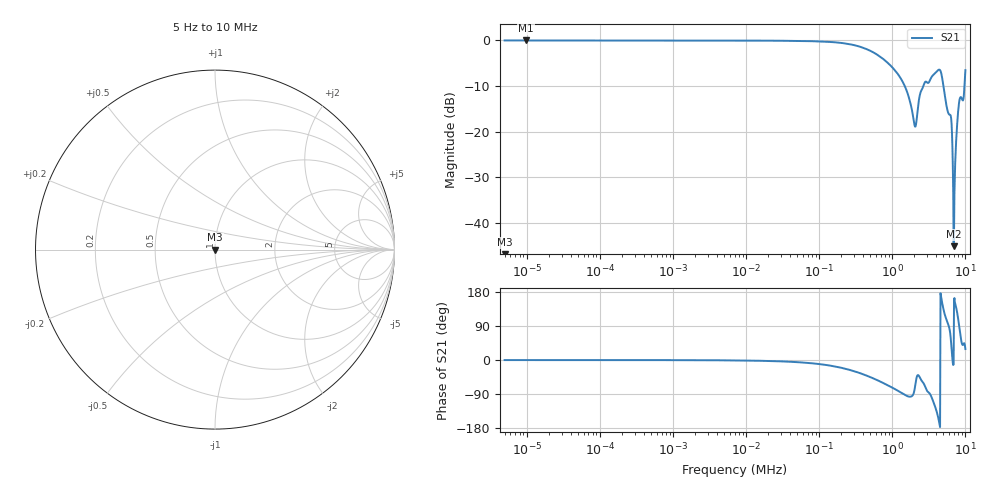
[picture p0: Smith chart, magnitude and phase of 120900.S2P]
!Agilent Technologies,E5061B,MY49204007,A.02.12
!Date: Fri Sep 12 10:03:07 2025
!Data & Calibration Information:
!Freq	S11:SOLT2(OFF)	S21:SOLT2(OFF)	S12:SOLT2(OFF)	S22:SOLT2(OFF)
# Hz S dB R 50
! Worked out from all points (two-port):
!   1041 points, 5 Hz to 10 MHz, reference 50 ohm
!   highest |S21| = -0.04 dB at 9.809 Hz (marker M1); lowest = -45.1 dB at 6.907 MHz (marker M2)
!   |S21| within 3 dB of the highest: start of sweep to 606.1 kHz
!   lowest |S11| = - dB at 5 Hz (marker M3), VSWR 1.00, Z = 50 + j0 ohm
!   |S11| at or under -10 dB: start of sweep to end of sweep
!   S12 and S22 are empty: the file has one direction only
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5  -200.00 0.0  -0.04 -0.2  -200.00 0.0  -200.00 0.0
9.809  -200.00 0.0  -0.04 -0.2  -200.00 0.0  -200.00 0.0
56.522  -200.00 0.0  -0.04 -0.2  -200.00 0.0  -200.00 0.0
632.897  -200.00 0.0  -0.05 -0.3  -200.00 0.0  -200.00 0.0
7154.49  -200.00 0.0  -0.06 -1.1  -200.00 0.0  -200.00 0.0
80111.67  -200.00 0.0  -0.21 -8.7  -200.00 0.0  -200.00 0.0
275329.2  -200.00 0.0  -0.93 -27.4  -200.00 0.0  -200.00 0.0
536083.3  -200.00 0.0  -2.55 -47.6  -200.00 0.0  -200.00 0.0
893075.1  -200.00 0.0  -5.14 -67.9  -200.00 0.0  -200.00 0.0
1506114  -200.00 0.0  -10.27 -92.7  -200.00 0.0  -200.00 0.0
2010257  -200.00 0.0  -18.50 -79.5  -200.00 0.0  -200.00 0.0
2568268  -200.00 0.0  -10.62 -56.8  -200.00 0.0  -200.00 0.0
3591133  -200.00 0.0  -7.68 -106.8  -200.00 0.0  -200.00 0.0
4062365  -200.00 0.0  -6.84 -137.2  -200.00 0.0  -200.00 0.0
4505004  -200.00 0.0  -6.55 -177.1  -200.00 0.0  -200.00 0.0
5074112  -200.00 0.0  -10.57 129.7  -200.00 0.0  -200.00 0.0
6209332  -200.00 0.0  -16.33 69.4  -200.00 0.0  -200.00 0.0
6906588  -200.00 0.0  -45.09 -11.3  -200.00 0.0  -200.00 0.0
7255215  -200.00 0.0  -26.87 149.1  -200.00 0.0  -200.00 0.0
7717529  -200.00 0.0  -18.36 125.0  -200.00 0.0  -200.00 0.0
8198050  -200.00 0.0  -13.62 90.4  -200.00 0.0  -200.00 0.0
1e7  -200.00 0.0  -6.55 29.0  -200.00 0.0  -200.00 0.0
